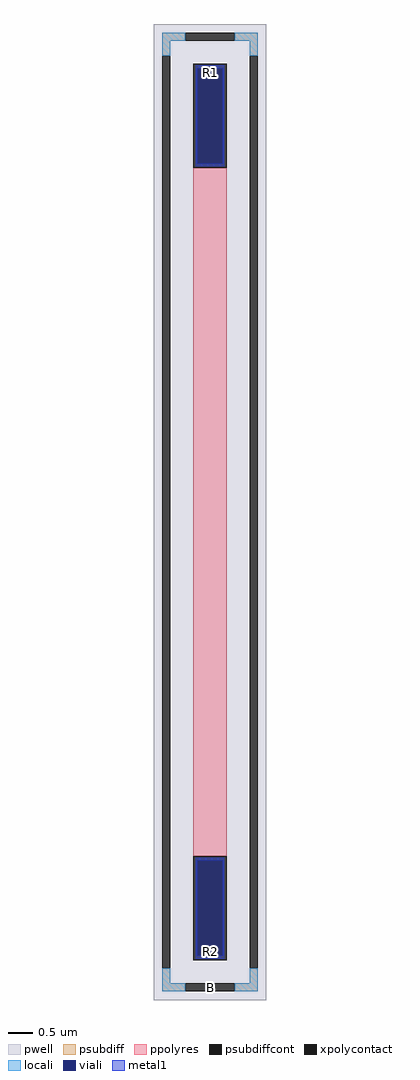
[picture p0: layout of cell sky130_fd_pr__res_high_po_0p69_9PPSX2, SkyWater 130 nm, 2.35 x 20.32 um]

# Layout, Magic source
magic
tech sky130A
magscale 1 2
<< pwell >>
rect -235 -2032 235 2032
<< psubdiff >>
rect -199 1962 -103 1996
rect 103 1962 199 1996
rect -199 1900 -165 1962
rect 165 1900 199 1962
rect -199 -1962 -165 -1900
rect 165 -1962 199 -1900
rect -199 -1996 -103 -1962
rect 103 -1996 199 -1962
<< psubdiffcont >>
rect -103 1962 103 1996
rect -199 -1900 -165 1900
rect 165 -1900 199 1900
rect -103 -1996 103 -1962
<< xpolycontact >>
rect -69 1434 69 1866
rect -69 -1866 69 -1434
<< ppolyres >>
rect -69 -1434 69 1434
<< locali >>
rect -199 1962 -103 1996
rect 103 1962 199 1996
rect -199 1900 -165 1962
rect 165 1900 199 1962
rect -199 -1962 -165 -1900
rect 165 -1962 199 -1900
rect -199 -1996 -103 -1962
rect 103 -1996 199 -1962
<< viali >>
rect -53 1451 53 1848
rect -53 -1848 53 -1451
<< metal1 >>
rect -59 1848 59 1860
rect -59 1451 -53 1848
rect 53 1451 59 1848
rect -59 1439 59 1451
rect -59 -1451 59 -1439
rect -59 -1848 -53 -1451
rect 53 -1848 59 -1451
rect -59 -1860 59 -1848
<< labels >>
rlabel psubdiffcont 0 -1979 0 -1979 0 B
port 1 nsew
rlabel xpolycontact 0 1831 0 1831 0 R1
port 2 nsew
rlabel xpolycontact 0 -1831 0 -1831 0 R2
port 3 nsew
<< properties >>
string FIXED_BBOX -182 -1979 182 1979
string gencell sky130_fd_pr__res_high_po_0p69
string library sky130
string parameters w 0.690 l 14.5 m 1 nx 1 wmin 0.690 lmin 0.50 class resistor rho 319.8 val 7.285k dummy 0 dw 0.0 term 194.82 sterm 0.0 caplen 0 guard 1 glc 1 grc 1 gtc 1 gbc 1 compatible {sky130_fd_pr__res_high_po_0p35  sky130_fd_pr__res_high_po_0p69 sky130_fd_pr__res_high_po_1p41  sky130_fd_pr__res_high_po_2p85 sky130_fd_pr__res_high_po_5p73} snake 0 full_metal 1 wmax 0.690 n_guard 0 hv_guard 0 vias 1 viagb 0 viagt 0 viagl 0 viagr 0 doports 1
<< end >>
